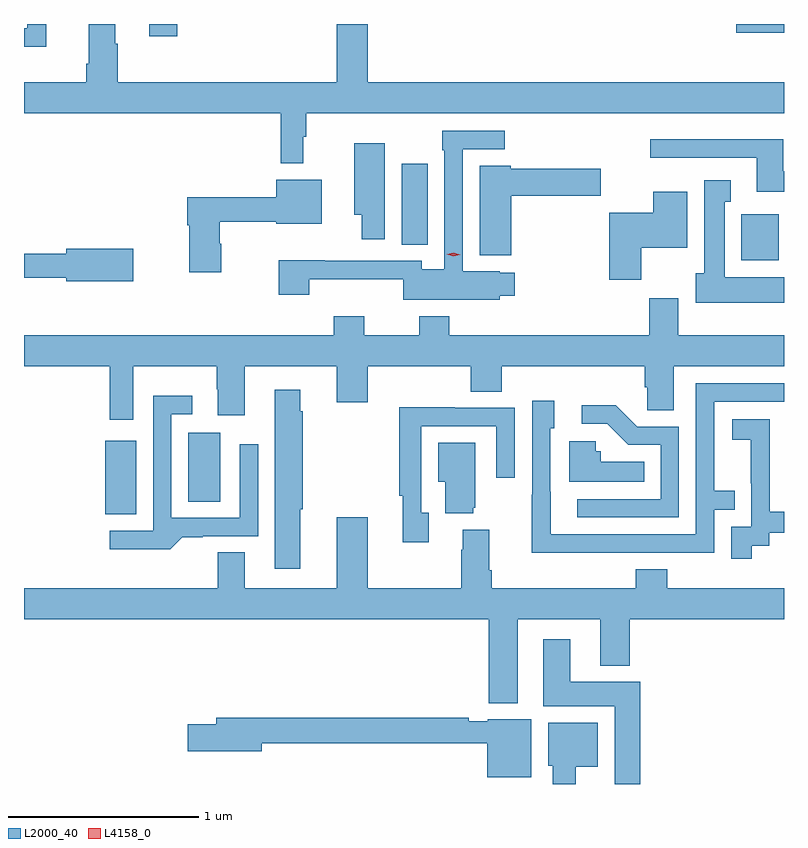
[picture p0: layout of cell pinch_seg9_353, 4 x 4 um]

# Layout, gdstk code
import gdstk
lib = gdstk.Library(unit=1e-6, precision=1e-09)
def R(c, l, rs):  # rectangles x0, y0, x1, y1
    for r in rs: c.add(gdstk.rectangle(r[:2], r[2:], *l))
def P(c, l, *ps):  # polygons
    for p in ps: c.add(gdstk.Polygon(p, *l))
L2000_40 = (2000, 40)
L4158_0 = (4158, 0)

pinch_seg9_353 = lib.new_cell('pinch_seg9_353')
R(pinch_seg9_353, L2000_40, [(547.406,1186.319,547.57,1186.705), (547.844,1186.384,548.011,1186.747), (550.754,1187.654,550.951,1187.896), (548.966,1187.737,549.103,1188.163), (547.637,1188.834,547.786,1188.898), (550.728,1188.851,550.979,1188.898)])
P(pinch_seg9_353, L2000_40, [(547.095,1188.898),(546.996,1188.898),(546.996,1188.876),(546.979,1188.876),(546.979,1188.779),(547.095,1188.779)],
  [(548.45,1188.305),(548.465,1188.305),(548.465,1188.428),(550.979,1188.428),(550.979,1188.592),(548.788,1188.592),(548.788,1188.898),(548.624,1188.898),(548.624,1188.592),(547.472,1188.592),(547.472,1188.794),(547.459,1188.794),(547.459,1188.898),(547.319,1188.898),(547.319,1188.688),(547.307,1188.688),(547.307,1188.592),(546.979,1188.592),(546.979,1188.428),(548.329,1188.428),(548.329,1188.165),(548.45,1188.165)],
  [(549.483,1187.468),(549.562,1187.468),(549.562,1187.59),(549.483,1187.59),(549.483,1187.596),(549.288,1187.596),(549.288,1188.24),(549.508,1188.24),(549.508,1188.336),(549.18,1188.336),(549.18,1188.233),(549.192,1188.233),(549.192,1187.608),(549.072,1187.608),(549.072,1187.652),(548.563,1187.652),(548.563,1187.654),(548.32,1187.654),(548.32,1187.472),(548.48,1187.472),(548.48,1187.555),(548.976,1187.555),(548.976,1187.447),(549.483,1187.447)],
  [(550.979,1188.124),(550.975,1188.124),(550.975,1188.292),(550.275,1188.292),(550.275,1188.195),(550.835,1188.195),(550.835,1188.014),(550.979,1188.014)],
  [(548.878,1188.271),(548.717,1188.271),(548.717,1187.894),(548.756,1187.894),(548.756,1187.766),(548.878,1187.766)],
  [(549.544,1187.993),(550.015,1187.993),(550.015,1188.135),(549.54,1188.135),(549.54,1188.151),(549.377,1188.151),(549.377,1187.681),(549.544,1187.681)],
  [(548.016,1187.742),(548.008,1187.742),(548.008,1187.857),(548.306,1187.857),(548.306,1187.846),(548.545,1187.846),(548.545,1188.079),(548.306,1188.079),(548.306,1187.986),(547.838,1187.986),(547.838,1187.84),(547.85,1187.84),(547.85,1187.592),(548.016,1187.592)],
  [(550.979,1187.566),(550.666,1187.566),(550.666,1187.963),(550.699,1187.963),(550.699,1188.076),(550.559,1188.076),(550.559,1187.586),(550.514,1187.586),(550.514,1187.432),(550.979,1187.432)],
  [(550.228,1187.72),(550.471,1187.72),(550.471,1188.016),(550.292,1188.016),(550.292,1187.905),(550.058,1187.905),(550.058,1187.553),(550.228,1187.553)],
  [(547.555,1187.714),(547.202,1187.714),(547.202,1187.69),(546.979,1187.69),(546.979,1187.562),(547.202,1187.562),(547.202,1187.543),(547.555,1187.543)],
  [(548.769,1187.359),(548.609,1187.359),(548.609,1187.26),(546.979,1187.26),(546.979,1187.096),(547.43,1187.096),(547.43,1186.815),(547.555,1186.815),(547.555,1187.096),(547.993,1187.096),(547.993,1186.976),(548,1186.976),(548,1186.839),(548.14,1186.839),(548.14,1187.096),(548.624,1187.096),(548.624,1186.908),(548.788,1186.908),(548.788,1187.096),(549.329,1187.096),(549.329,1186.963),(549.494,1186.963),(549.494,1187.096),(550.247,1187.096),(550.247,1186.987),(550.26,1186.987),(550.26,1186.864),(550.399,1186.864),(550.399,1187.096),(550.979,1187.096),(550.979,1187.26),(550.423,1187.26),(550.423,1187.455),(550.271,1187.455),(550.271,1187.26),(549.218,1187.26),(549.218,1187.359),(549.058,1187.359),(549.058,1187.26),(548.769,1187.26)],
  [(550.115,1186.116),(550.611,1186.116),(550.611,1186.341),(550.721,1186.341),(550.721,1186.442),(550.611,1186.442),(550.611,1186.911),(550.979,1186.911),(550.979,1187.007),(550.515,1187.007),(550.515,1186.212),(549.751,1186.212),(549.751,1186.436),(549.75,1186.436),(549.75,1186.77),(549.769,1186.77),(549.769,1186.915),(549.654,1186.915),(549.654,1186.421),(549.652,1186.421),(549.652,1186.115),(550.115,1186.115)],
  [(548.434,1186.344),(548.447,1186.344),(548.447,1186.859),(548.434,1186.859),(548.434,1186.972),(548.3,1186.972),(548.3,1186.032),(548.434,1186.032)],
  [(547.813,1186.198),(547.921,1186.198),(547.921,1186.203),(548.211,1186.203),(548.211,1186.687),(548.115,1186.687),(548.115,1186.299),(547.755,1186.299),(547.755,1186.845),(547.864,1186.845),(547.864,1186.942),(547.659,1186.942),(547.659,1186.23),(547.431,1186.23),(547.431,1186.133),(547.748,1186.133)],
  [(550.425,1186.779),(550.206,1186.779),(550.093,1186.892),(549.915,1186.892),(549.915,1186.794),(550.049,1186.794),(550.16,1186.683),(550.329,1186.683),(550.329,1186.398),(549.891,1186.398),(549.891,1186.302),(550.425,1186.302)],
  [(549.109,1186.326),(549.069,1186.326),(549.069,1186.782),(549.465,1186.782),(549.465,1186.509),(549.561,1186.509),(549.561,1186.878),(549.245,1186.878),(549.245,1186.88),(548.953,1186.88),(548.953,1186.414),(548.972,1186.414),(548.972,1186.17),(549.109,1186.17)],
  [(550.81,1186.153),(550.902,1186.153),(550.902,1186.221),(550.979,1186.221),(550.979,1186.33),(550.904,1186.33),(550.904,1186.613),(550.905,1186.613),(550.905,1186.819),(550.707,1186.819),(550.707,1186.709),(550.805,1186.709),(550.805,1186.481),(550.806,1186.481),(550.806,1186.251),(550.701,1186.251),(550.701,1186.083),(550.81,1186.083)],
  [(550.244,1186.594),(550.014,1186.594),(550.014,1186.65),(549.987,1186.65),(549.987,1186.702),(549.848,1186.702),(549.848,1186.49),(550.244,1186.49)],
  [(549.344,1186.353),(549.355,1186.353),(549.355,1186.693),(549.158,1186.693),(549.158,1186.49),(549.197,1186.49),(549.197,1186.322),(549.344,1186.322)],
  [(548,1186.118),(548,1185.928),(546.979,1185.928),(546.979,1185.764),(549.425,1185.764),(549.425,1185.323),(549.577,1185.323),(549.577,1185.764),(550.013,1185.764),(550.013,1185.521),(550.166,1185.521),(550.166,1185.764),(550.979,1185.764),(550.979,1185.928),(550.364,1185.928),(550.364,1186.027),(550.199,1186.027),(550.199,1185.928),(549.44,1185.928),(549.44,1186.024),(549.427,1186.024),(549.427,1186.237),(549.287,1186.237),(549.287,1186.13),(549.28,1186.13),(549.28,1185.928),(548.788,1185.928),(548.788,1186.303),(548.624,1186.303),(548.624,1185.928),(548.14,1185.928),(548.14,1186.118)],
  [(550.223,1185.436),(549.853,1185.436),(549.853,1185.661),(549.713,1185.661),(549.713,1185.308),(550.088,1185.308),(550.088,1184.898),(550.223,1184.898)],
  [(549.649,1185.238),(549.42,1185.238),(549.42,1185.228),(549.32,1185.228),(549.32,1185.248),(547.991,1185.248),(547.991,1185.212),(547.842,1185.212),(547.842,1185.07),(548.23,1185.07),(548.23,1185.112),(549.416,1185.112),(549.416,1184.933),(549.649,1184.933)],
  [(549.883,1184.99),(550,1184.99),(550,1185.22),(549.737,1185.22),(549.737,1184.994),(549.761,1184.994),(549.761,1184.898),(549.883,1184.898)])
P(pinch_seg9_353, L4158_0, [(549.239,1187.675),(549.205,1187.686),(549.204,1187.686),(549.205,1187.686),(549.24,1187.695),(549.274,1187.684),(549.275,1187.684),(549.274,1187.684)])

lib.write_gds('pinch_seg9_353.gds')
